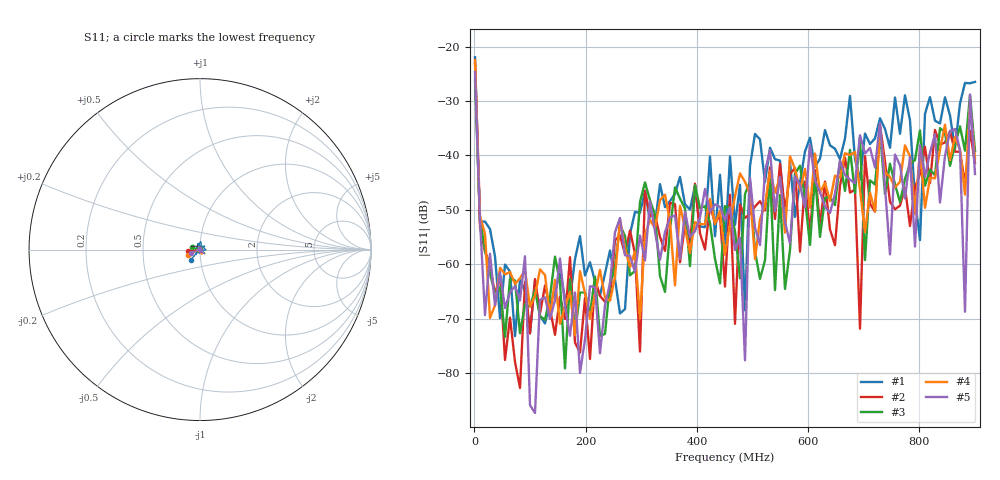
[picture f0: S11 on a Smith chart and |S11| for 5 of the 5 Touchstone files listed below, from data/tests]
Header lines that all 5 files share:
! File created by NanoVNA (https://gen111.taobao.com/)
! Start 1000000Hz  Stop 899999800Hz  Points 101
# HZ S MA R 50
!S - Parameter data, F S11
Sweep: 1 MHz to 900 MHz
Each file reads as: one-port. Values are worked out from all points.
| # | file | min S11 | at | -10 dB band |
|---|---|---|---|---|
| 1 | gecko test1.s1p | -73.2 dB | 72.92 MHz | over 899 MHz wide |
| 2 | gecko test2.s1p | -82.7 dB | 81.91 MHz | over 899 MHz wide |
| 3 | gecko test3.s1p | -79.1 dB | 162.8 MHz | over 899 MHz wide |
| 4 | gecko test4.s1p | -72.9 dB | 180.8 MHz | over 899 MHz wide |
| 5 | gecko test5.s1p | -87.3 dB | 108.9 MHz | over 899 MHz wide |
